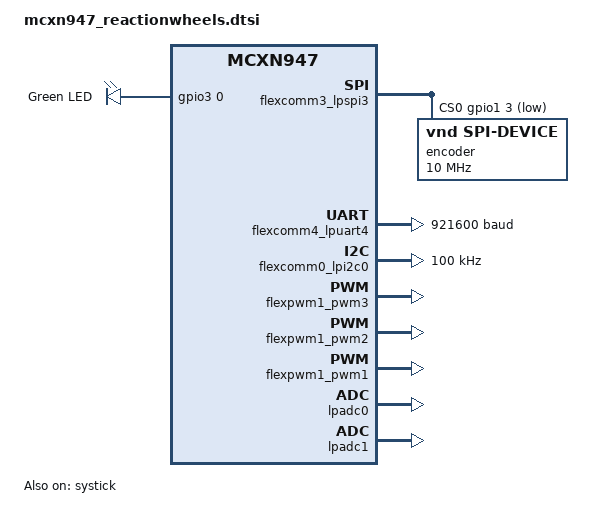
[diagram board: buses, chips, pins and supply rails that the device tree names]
/*
 * Copyright 2024 NXP
 *
 * SPDX-License-Identifier: Apache-2.0
 */

#include "mcxn947_reactionwheels-pinctrl.dtsi"
#include <zephyr/dt-bindings/i2c/i2c.h>
#include <zephyr/dt-bindings/input/input-event-codes.h>

/ {
	aliases{
		led0 = &led_green;
	};

	gpio_leds {
		compatible = "gpio-leds";
		led_green: led_green {
			gpios = <&gpio3 0 GPIO_ACTIVE_HIGH>;
			label = "Green LED";
		};
	};
};

&pinmux_xtal48m {
	pinctrl-0 = <&pinmux_xtal48m>;
	pinctrl-names = "default";
	status = "okay";
};

&flexcomm3_lpspi3 {
    pinctrl-0 = <&pinmux_flexcomm3_lpspi>;
    pinctrl-names = "default";
    status = "okay";

    cs-gpios = <&gpio1 3 GPIO_ACTIVE_LOW>;

    encoder: encoder@0 {
        compatible = "vnd,spi-device";    /* <--- THIS IS THE MAGIC KEY */
        reg = <0>; /* CS pin 0 */
        spi-max-frequency = <10000000>; /* 10 MHz */
    };
};

&flexcomm4_lpuart4 {
	current-speed = <921600>;
	pinctrl-0 = <&pinmux_flexcomm4_lpuart>;
	pinctrl-names = "default";
	status = "okay";
};

&flexcomm0_lpi2c0 {
	pinctrl-0 = <&pinmux_flexcomm0_lpi2c>;
	pinctrl-names = "default";
	clock-frequency = <I2C_BITRATE_STANDARD>;
	status = "okay";
};

&os_timer {
	status = "disabled";
};

&systick {
	status = "okay";
};

&sram {
	sramg: memory@20050000 {
		compatible = "mmio-sram";
		reg = <0x20050000 DT_SIZE_K(64)>;
	};
	sramh: memory@20060000 {
		compatible = "mmio-sram";
		reg = <0x20060000 DT_SIZE_K(32)>;
	};
};

&flash {
	partitions {
		compatible = "fixed-partitions";
		#address-cells = <1>;
		#size-cells = <1>;

		/*
		 * Partition sizes must be aligned
		 * to the flash memory sector size of 8KB.
		 */
		boot_partition: partition@0 {
			label = "mcuboot";
			reg = <0x00000000 DT_SIZE_K(80)>;
		};
		slot0_partition: partition@14000 {
			label = "image-0";
			reg = <0x00014000 DT_SIZE_K(984)>;
		};
		slot1_partition: partition@10A000 {
			label = "image-1";
			reg = <0x0010A000 DT_SIZE_K(968)>;
		};
		storage_partition: partition@1FC000 {
			label = "storage";
			reg = <0x001FC000 DT_SIZE_K(16)>;
		};
	};
};

/* Submodule 3 = Phase A (Channels 6/7) */
&flexpwm1_pwm3 {
    status = "okay";
    pinctrl-0 = <&pinmux_flexpwm1_pwm3>;
    pinctrl-names = "default";
};

/* Submodule 2 = Phase B (Channels 4/5) */
&flexpwm1_pwm2 {
    status = "okay";
    pinctrl-0 = <&pinmux_flexpwm1_pwm2>;
    pinctrl-names = "default";
};

/* Submodule 1 = Phase C (Channels 2/3) */
&flexpwm1_pwm1 {
    status = "okay";
    pinctrl-0 = <&pinmux_flexpwm1_pwm1>;
    pinctrl-names = "default";
};

&lpadc0 {
	pinctrl-0 = <&pinmux_lpadc0>;
	pinctrl-names = "default";
	status = "okay";
};

&lpadc1 {
	status = "okay";
	pinctrl-0 = <&pinmux_lpadc1>;
	pinctrl-names = "default";
};

&flexcan0 {
	pinctrl-0 = <&pinmux_flexcan0>;
	pinctrl-names = "default";
};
